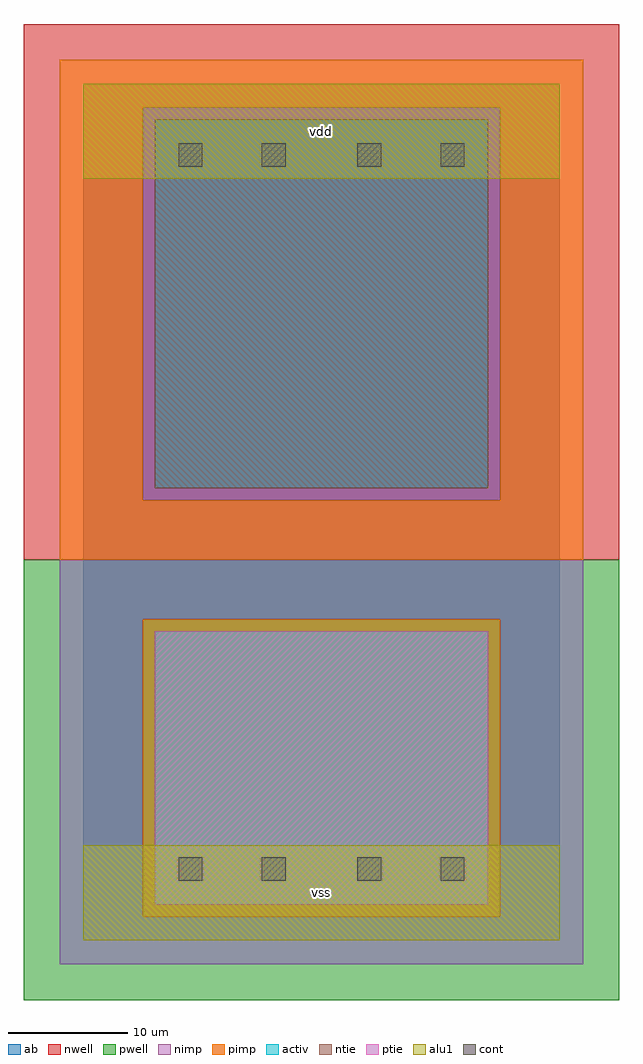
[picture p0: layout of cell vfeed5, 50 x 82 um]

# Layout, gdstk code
import gdstk
lib = gdstk.Library(unit=1e-6, precision=1e-09)
def R(c, l, rs):  # rectangles x0, y0, x1, y1
    for r in rs: c.add(gdstk.rectangle(r[:2], r[2:], *l))
ntie = (5, 0)
ptie = (6, 0)
cont = (25, 0)
pwell = (41, 0)
nwell = (42, 0)
activ = (43, 0)
pimp = (44, 0)
nimp = (45, 0)
alu1 = (49, 0)
ab = (63, 0)

vfeed5 = lib.new_cell('vfeed5')
R(vfeed5, ntie, [(6,38,34,69)])
R(vfeed5, ptie, [(6,3,34,26)])
R(vfeed5, cont, [(8,5,10,7), (15,5,17,7), (23,5,25,7), (30,5,32,7), (8,65,10,67), (15,65,17,67), (23,65,25,67), (30,65,32,67)])
R(vfeed5, pwell, [(-5,-5,45,32)])
R(vfeed5, nwell, [(-5,32,45,77)])
R(vfeed5, activ, [(6,3,34,26), (6,38,34,69)])
R(vfeed5, pimp, [(5,2,35,27), (-2,32,42,37), (-2,37,5,70), (35,37,42,70), (-2,70,42,74)])
R(vfeed5, nimp, [(-2,-2,42,2), (-2,2,5,27), (35,2,42,27), (-2,27,42,32), (5,37,35,70)])
R(vfeed5, alu1, [(0,0,40,8), (0,64,40,72)])
R(vfeed5, ab, [(0,0,40,72)])
vfeed5.add(gdstk.Label('vss', (20,4), layer=49, texttype=0))
vfeed5.add(gdstk.Label('vdd', (20,68), layer=49, texttype=0))

lib.write_gds('vfeed5.gds')
